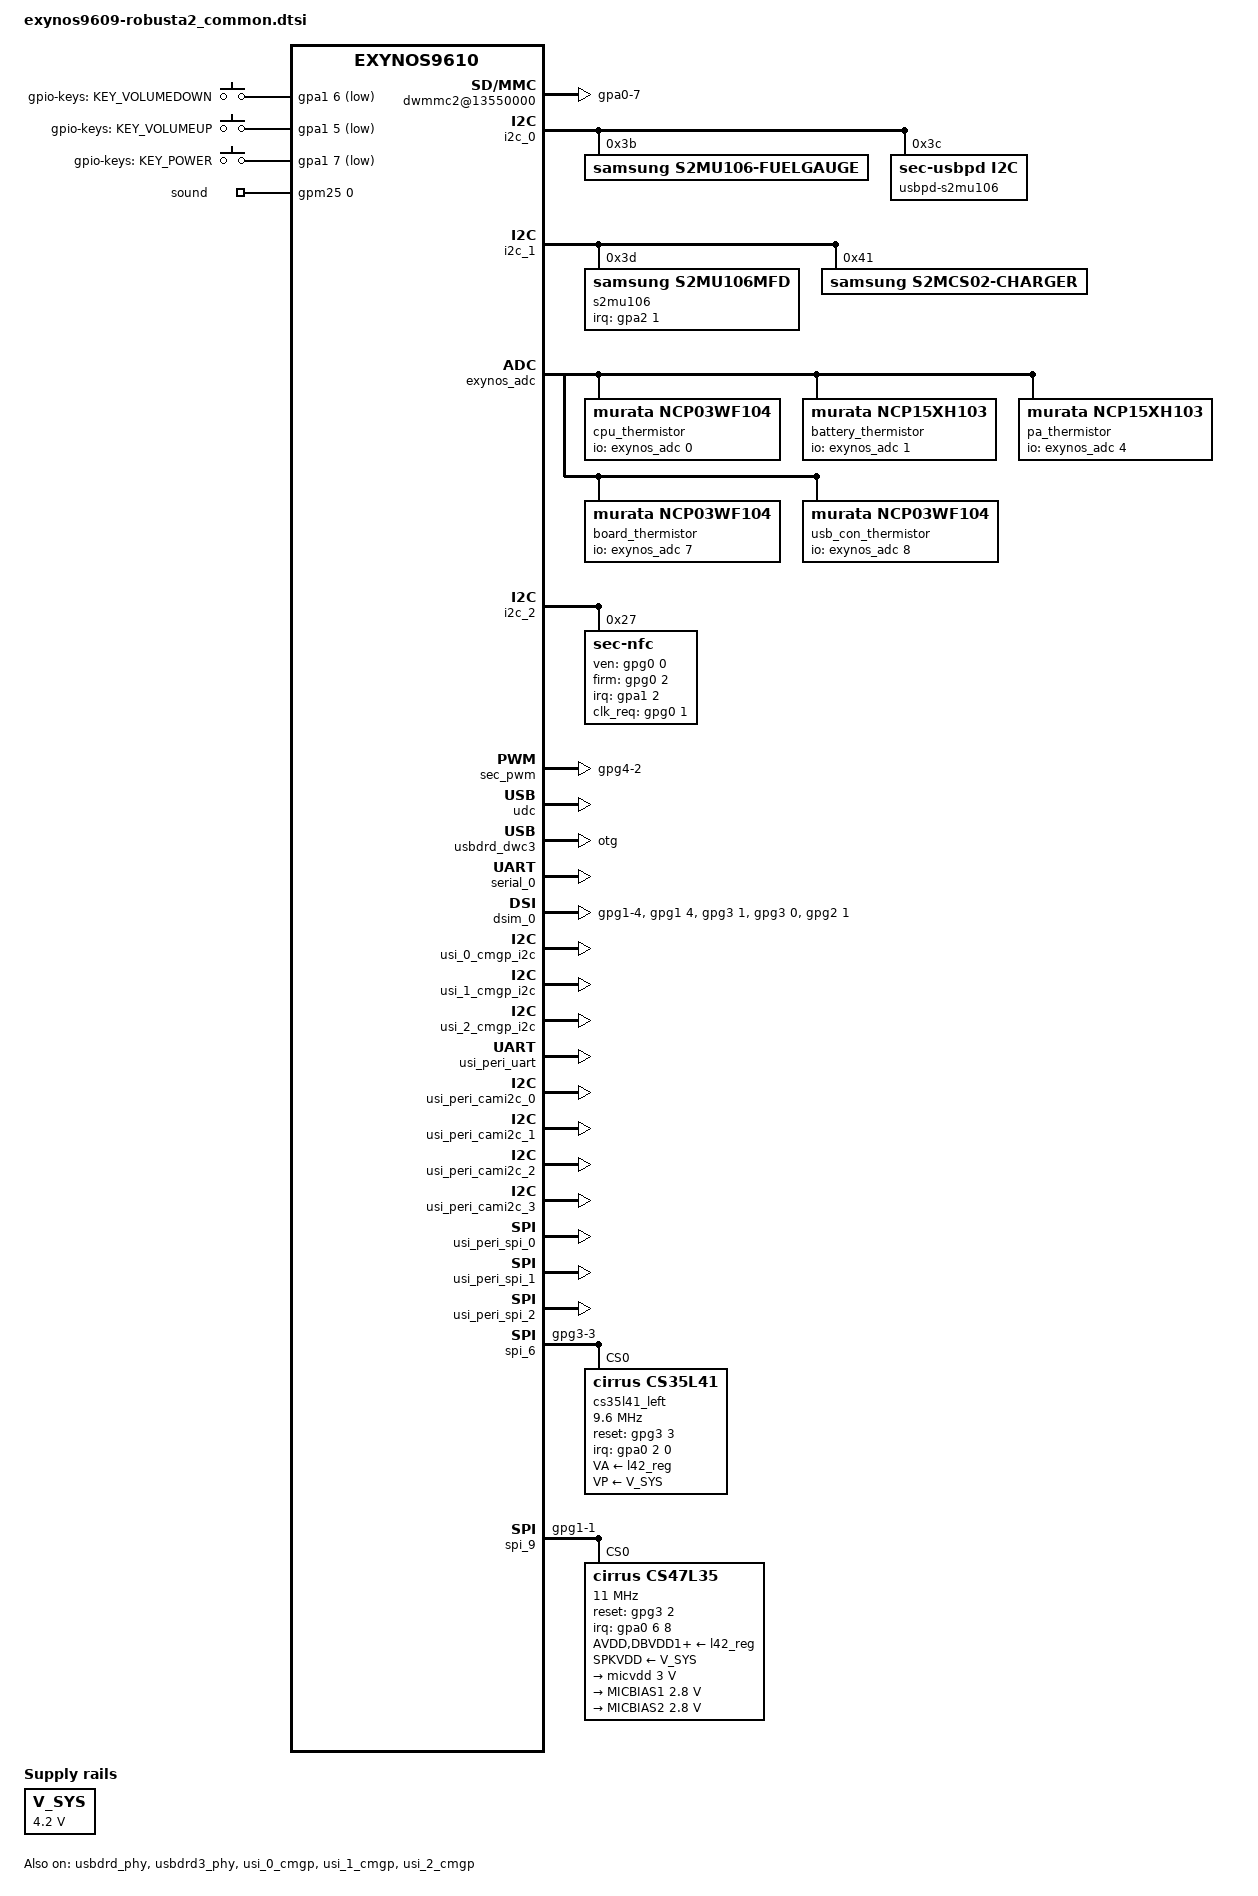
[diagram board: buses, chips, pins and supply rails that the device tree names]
/*
 * SAMSUNG EXYNOS9610 board device tree source
 *
 * Copyright (c) 2017 Samsung Electronics Co., Ltd.
 *		http://www.samsung.com
 *
 * This program is free software; you can redistribute it and/or modify
 * it under the terms of the GNU General Public License version 2 as
 * published by the Free Software Foundation.
 */

#include "exynos9610_battery_data.dtsi"
#include <dt-bindings/clock/exynos9610.h>
#include "modem-ss360ap-sit-pdata.dtsi"
#include "exynos9610-display-lcd.dtsi"
#include "novatek-nt36xxx-i2c.dtsi"
#include "himax-hx83112a-i2c.dtsi"
#include "wing-sensor.dtsi"
#include "exynos9610-robusta2-motor.dtsi"
#include "exynos9610_gpio_config_macros.dtsi"
#include "carrier-channel-ids.dtsi"

/ {
	fragment@common {
		target-path = "/";
		__overlay__ {
			#address-cells = <2>;
			#size-cells = <1>;

			fixed-rate-clocks {
				oscclk {
					compatible = "samsung,exynos9610-oscclk";
					clock-frequency = <26000000>;
				};
			};

			firmware {
				android {
					compatible = "android,firmware";
					vbmeta {
						compatible = "android,vbmeta";
						parts = "vbmeta,boot,system,vendor,dtbo,oem";
					};
					fstab {
						compatible = "android,fstab";
						vendor {
							compatible = "android,vendor";
							dev = "/dev/block/platform/13520000.ufs/by-name/vendor";
							type = "ext4";
							mnt_flags = "ro";
							fsmgr_flags = "wait,avb,slotselect";
						};
						oem {
							compatible = "android,oem";
							dev = "/dev/block/platform/13520000.ufs/by-name/oem";
							type = "ext4";
							mnt_flags = "ro,barrier=1,discard";
							fsmgr_flags = "wait,avb,slotselect";
						};
					};
				};
			};

			ifconn {
				status = "okay";
				compatible = "samsung,ifconn";
				ifconn,usbpd = "s2mm005";
				ifconn,muic = "s2mu106-muic";
			};

			/*Fingerprint start*/
			et320: et320{
				compatible = "egistec,et320";
				status = "ok";
				reg = <0>;
				clocks = <&clock GATE_SPI_1_QCH>, <&clock SPI1>;
				clock-names = "spi", "spi_busclk0";
				pinctrl-names = "default";
				pinctrl-0 = <&spi7_bus &spi7_cs_func>;
				egistec,gpio_irq    = <&gpa0 5 0>;
				egistec,gpio_rst    = <&gpa1 1 0>;
				egistec,gpio_ldo3p3_en    = <&gpg2 0 0>;
				egistec,gpio_ldo1p8_en    = <&gpg2 2 0>;
			};
			/*Fingerprint end*/

			speedy@11a10000 {
				status = "okay";
				#address-cells = <1>;
				#size-cells = <0>;
				s2mpu09mfd@00 {
					compatible = "samsung,s2mpu09mfd";
					acpm-ipc-channel = <2>;
					i2c-speedy-address;
					s2mpu09,wakeup = "enabled";
					s2mpu09,irq-gpio = <&gpa2 0 0>;
					reg = <0x00>;
					interrupts = <2 0 0>;
					interrupt-parent = <&gpa2>;
					pinctrl-names = "default";
					pinctrl-0 = <&pmic_irq &pm_wrsti>;
					/* RTC: wtsr/smpl */
					wtsr_en = "enabled"; /* enable */
					smpl_en = "enabled"; /* enable */
					wtsr_timer_val = <3>;	/* 1000ms */
					smpl_timer_val = <4>;	/* 500ms */
					check_jigon = <0>; /* do not check jigon */
					/* RTC: If it's first boot, reset rtc to 1/1/2017 12:00:00(Sun) */
					init_time,sec = <0>;
					init_time,min = <0>;
					init_time,hour = <12>;
					init_time,mday = <1>;
					init_time,mon = <0>;
					init_time,year = <117>;
					init_time,wday = <0>;

					regulators {
						b1_reg: BUCK1 {
							regulator-name = "vdd_mif";
							regulator-min-microvolt = <500000>;
							regulator-max-microvolt = <1100000>;
							regulator-always-on;
							regulator-ramp-delay = <12000>;
							regulator-initial-mode = <2>;
						};

						b2_reg: BUCK2 {
							regulator-name = "vdd_cpucl1";
							regulator-min-microvolt = <500000>;
							regulator-max-microvolt = <1300000>;
							regulator-always-on;
							regulator-ramp-delay = <12000>;
							regulator-initial-mode = <1>;
						};

						b3_reg: BUCK3 {
							regulator-name = "vdd_cpucl0";
							regulator-min-microvolt = <500000>;
							regulator-max-microvolt = <1300000>;
							regulator-always-on;
							regulator-ramp-delay = <12000>;
							regulator-initial-mode = <1>;
						};

						b4_reg: BUCK4{
							regulator-name = "vdd_int";
							regulator-min-microvolt = <500000>;
							regulator-max-microvolt = <1100000>;
							regulator-always-on;
							regulator-ramp-delay = <12000>;
							regulator-initial-mode = <2>;
						};

						b5_reg: BUCK5 {
							regulator-name = "vdd_g3d";
							regulator-min-microvolt = <500000>;
							regulator-max-microvolt = <1200000>;
							regulator-always-on;
							regulator-ramp-delay = <12000>;
							regulator-initial-mode = <2>;
						};

						b6_reg: BUCK6 {
							regulator-name = "vdd_cam_vipx";
							regulator-min-microvolt = <500000>;
							regulator-max-microvolt = <1300000>;
							regulator-always-on;
							regulator-ramp-delay = <12000>;
							regulator-initial-mode = <2>;
						};

						b7_reg: BUCK7 {
							regulator-name = "vdd2_mem";
							regulator-min-microvolt = <500000>;
							regulator-max-microvolt = <1300000>;
							regulator-always-on;
							regulator-ramp-delay = <12000>;
							regulator-initial-mode = <3>;
						};

						b8_reg: BUCK8 {
							regulator-name = "vdd_lldo";
							regulator-min-microvolt = <1200000>;
							regulator-max-microvolt = <1500000>;
							regulator-always-on;
							regulator-ramp-delay = <12000>;
							regulator-initial-mode = <3>;
						};

						b9_reg: BUCK9 {
							regulator-name = "vdd_mldo";
							regulator-min-microvolt = <1800000>;
							regulator-max-microvolt = <2100000>;
							regulator-always-on;
							regulator-ramp-delay = <12000>;
							regulator-initial-mode = <3>;
						};

						l1_reg: LDO1 {
							regulator-name = "vdd_ldo1";
							regulator-min-microvolt = <700000>;
							regulator-max-microvolt = <1300000>;
							regulator-always-on;
							regulator-ramp-delay = <12000>;
							regulator-initial-mode = <3>;
						};

						l2_reg: LDO2 {
							regulator-name = "vqmmc";
							regulator-min-microvolt = <1800000>;
							regulator-max-microvolt = <3375000>;
							regulator-ramp-delay = <12000>;
						};

						l3_reg: LDO3 {
							regulator-name = "vdd_ldo3";
							regulator-min-microvolt = <800000>;
							regulator-max-microvolt = <1950000>;
							regulator-always-on;
							regulator-ramp-delay = <12000>;
							regulator-initial-mode = <3>;
						};

						l4_reg: LDO4 {
							regulator-name = "vdd_ldo4";
							regulator-min-microvolt = <500000>;
							regulator-max-microvolt = <1100000>;
							regulator-always-on;
							regulator-ramp-delay = <12000>;
							regulator-initial-mode = <1>;
						};

						l5_reg: LDO5 {
							regulator-name = "vdd_ldo5";
							regulator-min-microvolt = <800000>;
							regulator-max-microvolt = <1300000>;
							regulator-always-on;
							regulator-ramp-delay = <12000>;
							regulator-initial-mode = <1>;
						};

						l6_reg: LDO6 {
							regulator-name = "vdd_ldo6";
							regulator-min-microvolt = <800000>;
							regulator-max-microvolt = <1300000>;
							regulator-always-on;
							regulator-ramp-delay = <12000>;
							regulator-initial-mode = <1>;
						};

						l7_reg: LDO7 {
							regulator-name = "vdd_ldo7";
							regulator-min-microvolt = <800000>;
							regulator-max-microvolt = <1950000>;
							regulator-always-on;
							regulator-ramp-delay = <12000>;
							regulator-initial-mode = <1>;
						};

						l8_reg: LDO8 {
							regulator-name = "vdd_ldo8";
							regulator-min-microvolt = <500000>;
							regulator-max-microvolt = <1300000>;
							regulator-always-on;
							regulator-ramp-delay = <12000>;
							regulator-initial-mode = <1>;
						};

						l9_reg: LDO9 {
							regulator-name = "vdd_ldo9";
							regulator-min-microvolt = <500000>;
							regulator-max-microvolt = <1300000>;
							regulator-always-on;
							regulator-ramp-delay = <12000>;
							regulator-initial-mode = <1>;
						};

						l10_reg: LDO10 {
							regulator-name = "vdd_ldo10";
							regulator-min-microvolt = <500000>;
							regulator-max-microvolt = <1300000>;
							regulator-always-on;
							regulator-ramp-delay = <12000>;
							regulator-initial-mode = <1>;
						};

						l11_reg: LDO11 {
							regulator-name = "vdd_ldo11";
							regulator-min-microvolt = <500000>;
							regulator-max-microvolt = <1300000>;
							regulator-always-on;
							regulator-ramp-delay = <12000>;
							regulator-initial-mode = <1>;
						};

						l12_reg: LDO12 {
							regulator-name = "vdd_ldo12";
							regulator-min-microvolt = <800000>;
							regulator-max-microvolt = <1300000>;
							regulator-always-on;
							regulator-ramp-delay = <12000>;
							regulator-initial-mode = <1>;
						};

						l13_reg: LDO13 {
							regulator-name = "vdd_ldo13";
							regulator-min-microvolt = <800000>;
							regulator-max-microvolt = <1950000>;
							regulator-always-on;
							regulator-ramp-delay = <12000>;
							regulator-initial-mode = <1>;
						};

						l14_reg: LDO14 {
							regulator-name = "vdd_ldo14";
							regulator-min-microvolt = <1800000>;
							regulator-max-microvolt = <3375000>;
							regulator-always-on;
							regulator-ramp-delay = <12000>;
							regulator-initial-mode = <1>;
						};

						l33_reg: LDO33 {
							regulator-name = "vdd_ldo33";
							regulator-min-microvolt = <800000>;
							regulator-max-microvolt = <1950000>;
							regulator-ramp-delay = <12000>;
						};

						l34_reg: LDO34 {
							regulator-name = "vdd_ldo34";
							regulator-min-microvolt = <1800000>;
							regulator-max-microvolt = <3375000>;
							regulator-ramp-delay = <12000>;
						};

						l35_reg: LDO35 {
							regulator-name = "vmmc";
							regulator-min-microvolt = <1800000>;
							regulator-max-microvolt = <3375000>;
							regulator-ramp-delay = <12000>;
						};

						l36_reg: LDO36 {
							regulator-name = "vdd_ldo36";
							regulator-min-microvolt = <500000>;
							regulator-max-microvolt = <1300000>;
							regulator-always-on;
							regulator-ramp-delay = <12000>;
							regulator-initial-mode = <1>;
						};

						l37_reg: LDO37 {
						        regulator-name = "vdd_ldo37";
					                regulator-min-microvolt = <3300000>;
					                regulator-max-microvolt = <3300000>;
					                regulator-ramp-delay = <12000>;
					                regulator-always-on;
						};

						l38_reg: LDO38 {
							regulator-name = "VLDO38_PMIC_RCAM_AFVCC_2P8";
							regulator-min-microvolt = <2800000>;
							regulator-max-microvolt = <2800000>;
							regulator-ramp-delay = <12000>;
						};

						l39_reg: LDO39 {
							regulator-name = "vdd_ldo39";
							regulator-min-microvolt = <800000>;
							regulator-max-microvolt = <1950000>;
							regulator-ramp-delay = <12000>;
							regulator-always-on;
						};

						l40_reg: LDO40 {
							regulator-name = "vdd_ldo40";
							regulator-min-microvolt = <3000000>;
							regulator-max-microvolt = <3000000>;
							regulator-ramp-delay = <12000>;
							regulator-initial-mode = <3>;
							regulator-always-on;
						};

						l41_reg: LDO41 {
							regulator-name = "VLDO41_PMIC_FCAM_AVDD_2P8";
							regulator-min-microvolt = <2800000>;
							regulator-max-microvolt = <2800000>;
							regulator-ramp-delay = <12000>;
						};

						l42_reg: LDO42 {
							regulator-name = "vdd_ldo42";
							regulator-min-microvolt = <800000>;
							regulator-max-microvolt = <1950000>;
							regulator-ramp-delay = <12000>;
							regulator-always-on;
						};

						l43_reg: LDO43 {
							regulator-name = "vdd_ldo43";
							regulator-min-microvolt = <500000>;
							regulator-max-microvolt = <1300000>;
							regulator-always-on;
							regulator-ramp-delay = <12000>;
							regulator-initial-mode = <1>;
						};

						l44_reg: LDO44 {
							regulator-name = "VLDO44_PMIC_DCAM_DVDD_1P2";
							regulator-min-microvolt = <1200000>;
							regulator-max-microvolt = <1200000>;
							regulator-ramp-delay = <12000>;
						};
					};
				};
			};


			exynos_rgt {
				compatible = "samsung,exynos-rgt";
			};

			mailbox_cp: mcu_ipc@11920000 {
				compatible = "samsung,exynos-shd-ipc-mailbox";
				reg = <0x0 0x11920000 0x180>;
				mcu,name = "mcu_ipc_cp";
				mcu,id = <0>;
				interrupts = <0 40 0 >;
			};

			mailbox_gnss: mcu_ipc@11A00000 {
				compatible = "samsung,exynos-shd-ipc-mailbox";
				reg = <0x0 0x11A00000 0x180>;
				mcu,name = "mcu_ipc_gnss";
				mcu,id = <1>;
				interrupts = <0 43 0>; /* INTREQ__MAILBOX_GNSS2AP */
			};

			gnss_pdata {
				status = "okay";

				compatible = "samsung,gnss_shdmem_if";
				shmem,name = "KEPLER";
				shmem,device_node_name = "gnss_ipc";

				/* INTREQ__ALIVE_GNSS_ACTIVE, INTREQ__GNSS2AP_WDOG_RESET, INTREQ__GNSS2AP_WAKEUP, INTREQ__GNSS2AP */
				interrupts = <0 27 0>, <0 81 0>, <0 80 0>, <0 79 0>;
				interrupt-names = "ACTIVE", "WATCHDOG", "WAKEUP", "REQ_INIT";

				memory-region = <&gnss_reserved>;
				mbox_info = <&mailbox_gnss>;

				mbx,int_ap2gnss_bcmd = <0>;
				mbx,int_ap2gnss_req_fault_info = <1>;
				mbx,int_ap2gnss_ipc_msg = <2>;
				mbx,int_ap2gnss_ack_wake_set = <3>;
				mbx,int_ap2gnss_ack_wake_clr = <4>;

				mbx,irq_gnss2ap_bcmd = <0>;
				mbx,irq_gnss2ap_rsp_fault_info = <1>;
				mbx,irq_gnss2ap_ipc_msg = <2>;
				mbx,irq_gnss2ap_req_wake_clr = <4>;

				mbx,reg_bcmd_ctrl = <0>, <1>, <2>, <3>;

				reg_rx_ipc_msg = <1 5>;
				reg_tx_ipc_msg = <1 4>;
				reg_rx_head = <1 3>;
				reg_rx_tail = <1 2>;
				reg_tx_head = <1 1>;
				reg_tx_tail = <1 0>;
				fault_info = <1 0x200000 0x180000>;

				shmem,ipc_offset = <0x380000>;
				shmem,ipc_size = <0x80000>;
				shmem,ipc_reg_cnt = <32>;
			};

			gpio_keys {
				status = "okay";
				compatible = "gpio-keys";
				#address-cells = <1>;
				#size-cells = <0>;
				pinctrl-names = "default";
				pinctrl-0 = <&key_voldown &key_volup &key_power>;
				button@1 {
					label = "gpio-keys: KEY_VOLUMEDOWN";
					linux,code = <114>;
					gpios = <&gpa1 6 0xf>;
				};
				button@2 {
					label = "gpio-keys: KEY_VOLUMEUP";
					linux,code = <115>;
					gpios = <&gpa1 5 0xf>;
				};
				button@3 {
					label = "gpio-keys: KEY_POWER";
					linux,code = <116>;
					gpios = <&gpa1 7 0xf>;
					gpio-key,wakeup = <1>;
				};
			};

			dwmmc2@13550000 {
				status = "okay";
				num-slots = <1>;
				supports-4bit;
				supports-cmd23;
				supports-highspeed;
				sd-uhs-sdr50;
				sd-uhs-sdr104;
				card-detect-invert;
				card-detect-gpio;
				bypass-for-allpass;
				card-init-hwacg-ctrl;
				skip-init-mmc-scan;
				skip-init-no-tray;
				qos-dvfs-level = <100000>;
				fifo-depth = <0x40>;
				desc-size = <4>;
				card-detect-delay = <200>;
				data-timeout = <200>;
				hto-timeout = <80>;
				samsung,dw-mshc-ciu-div = <3>;
				clock-frequency = <800000000>;
				samsung,dw-mshc-sdr-timing = <3 0 2 0>;
				samsung,dw-mshc-ddr-timing = <3 0 2 1>;
				samsung,dw-mshc-sdr50-timing = <3 0 4 2>;
				samsung,dw-mshc-sdr104-timing = <3 0 3 0>;

				num-ref-clks = <9>;
				ciu_clkin = <25 50 50 25 50 100 200 50 50>;

				/* Swapping clock drive strength */
				clk-drive-number = <4>;
				pinctrl-names = "default",
					"fast-slew-rate-1x",
					"fast-slew-rate-2x",
					"fast-slew-rate-3x",
					"fast-slew-rate-4x";
				pinctrl-0 = <&sd2_clk &sd2_cmd &sd2_bus1 &sd2_bus4 &dwmmc2_cd_ext_irq>;
				pinctrl-1 = <&sd2_clk_fast_slew_rate_1x>;
				pinctrl-2 = <&sd2_clk_fast_slew_rate_2x>;
				pinctrl-3 = <&sd2_clk_fast_slew_rate_3x>;
				pinctrl-4 = <&sd2_clk_fast_slew_rate_4x>;

				card-detect = <&gpa0 7 0xf>;
				#address-cells = <1>;
				#size-cells = <0>;
				slot@0 {
					reg = <0>;
					bus-width = <4>;
					disable-wp;
				};
			};

			usb_notifier {
				compatible = "samsung,usb-notifier";
				udc = <&udc>;
			};

			usb_hs_tune:usb_hs_tune {
				hs_tune_cnt = <12>;

				/* value = <device host> */
				hs_tune1 {
					tune_name = "tx_vref";
					tune_value = <0xf 0xf>;
				};

				hs_tune2 {
					tune_name = "tx_pre_emp";
					tune_value = <0x3 0x3>;
				};

				hs_tune3 {
					tune_name = "tx_pre_emp_plus";
					tune_value = <0x0 0x0>;
				};

				hs_tune4 {
					tune_name = "tx_res";
					tune_value = <0x3 0x3>;
				};

				hs_tune5 {
					tune_name = "tx_rise";
					tune_value = <0x3 0x3>;
				};

				hs_tune6 {
					tune_name = "tx_hsxv";
					tune_value = <0x3 0x3>;
				};

				hs_tune7 {
					tune_name = "tx_fsls";
					tune_value = <0x3 0x3>;
				};

				hs_tune8 {
					tune_name = "rx_sqrx";
					tune_value = <0x7 0x7>;
				};

				hs_tune9 {
					tune_name = "compdis";
					tune_value = <0x7 0x7>;
				};

				hs_tune10 {
					tune_name = "otg";
					tune_value = <0x2 0x2>;
				};

				hs_tune11 {
				/* true : 1, false: 0 */
				/* <enable_user_imp user_imp_value> */
					tune_name = "enable_user_imp";
					tune_value = <0x0 0x0>;
				};

				hs_tune12 {
				/* PHY clk : 1 , FREE clk : 0 */
					tune_name = "is_phyclock";
					tune_value = <0x1 0x1>;
				};
			};

			usb3_ss_tune:ss_tune {
				ss_tune_cnt = <15>;

				/* value = <device host> */
				ss_tune1 {
					tune_name = "tx0_term_offset";
					tune_value = <0x0 0x0>;
				};

				ss_tune2 {
					tune_name = "pcs_tx_swing_full";
					tune_value = <0x7f 0x7f>;
				};

				ss_tune3 {
					tune_name = "pcs_tx_deemph_6db";
					tune_value = <0x1c 0x1c>;
				};

				ss_tune4 {
					tune_name = "pcs_tx_deemph_3p5db";
					tune_value = <0x1c 0x1c>;
				};

				ss_tune5 {
					tune_name = "tx_vboost_lvl_sstx";
					tune_value = <0x7 0x7>;
				};

				ss_tune6 {
					tune_name = "tx_vboost_lvl";
					tune_value = <0x4 0x4>;
				};

				ss_tune7 {
					tune_name = "los_level";
					tune_value = <0x9 0x9>;
				};

				ss_tune8 {
					tune_name = "los_bias";
					tune_value = <0x5 0x5>;
				};

				ss_tune9 {
					tune_name = "pcs_rx_los_mask_val";
					tune_value = <0x104 0x104>;
				};

				ss_tune10 {
					tune_name = "tx_eye_height_cntl_en";
					tune_value = <0x1 0x1>;
				};

				ss_tune11 {
					tune_name = "pipe_tx_deemph_update_delay";
					tune_value = <0x2 0x2>;
				};

				ss_tune12 {
					tune_name = "pcs_tx_swing_full_sstx";
					tune_value = <0x7f 0x7f>;
				};
				ss_tune13 {
					tune_name = "rx_eq_fix_val";
					tune_value = <0x2 0x2>;
				};

				ss_tune14 {
					tune_name = "rx_decode_mode";
					tune_value = <0x1 0x1>;
				};

				ss_tune15 {
					tune_name = "decrese_ss_tx_imp";
					tune_value = <0x1 0x1>;
				};
			};

			usb3_hs_tune:usb3_hs_tune {
				hs_tune_cnt = <10>;

				/* value = <device host> */
				hs_tune1 {
					tune_name = "tx_pre_emp";
					tune_value = <0x3 0x3>;
				};

				hs_tune2 {
					tune_name = "tx_pre_emp_plus";
					tune_value = <0x0 0x0>;
				};

				hs_tune3 {
					tune_name = "tx_vref";
					tune_value = <0x7 0x7>;
				};

				hs_tune4 {
					tune_name = "rx_sqrx";
					tune_value = <0x7 0x7>;
				};

				hs_tune5 {
					tune_name = "tx_rise";
					tune_value = <0x3 0x3>;
				};

				hs_tune6 {
					tune_name = "compdis";
					tune_value = <0x7 0x7>;
				};

				hs_tune7 {
					tune_name = "tx_hsxv";
					tune_value = <0x3 0x3>;
				};

				hs_tune8 {
					tune_name = "tx_fsls";
					tune_value = <0x3 0x3>;
				};

				hs_tune9 {
					tune_name = "tx_res";
					tune_value = <0x3 0x3>;
				};

				hs_tune10 {
					tune_name = "utim_clk";
					tune_value = <0x1 0x1>;
				};
			};

			/* Secure RPMB */
			ufs-srpmb {
				compatible = "samsung,ufs-srpmb";
				interrupts = <0 460 0>;
			};

			V_SYS: fixedregulator@0 {
				compatible = "regulator-fixed";
				regulator-name = "V_SYS";
				regulator-min-microvolt = <4200000>;
				regulator-max-microvolt = <4200000>;
				regulator-boot-on;
				regulator-always-on;
			};


			dummy_audio_codec: audio_codec_dummy {
				status = "okay";
				compatible = "snd-soc-dummy";
			};

			dummy_audio_cpu: audio_cpu_dummy {
				compatible = "samsung,dummy-cpu";
				status = "okay";
			};

			sound {
				status = "okay";
				compatible = "samsung,exynos9610-madera";

				clock-names = "xclkout";
				clocks = <&clock OSC_AUD>;
				pinctrl-names = "default";
				pinctrl-0 = <&xclkout0 &spk_id>;

				cirrus,sysclk = <1 4 98304000>;
				cirrus,dspclk = <8 4 147456000>;
				cirrus,fll1-refclk = <1 0 26000000 98304000>;

				cirrus,opclk = <3 0 12288000>;

				gpios = <&gpm25 0 0>;

				samsung,routing =
					"HEADSETMIC", "MICBIAS1B",
					"IN1BR", "HEADSETMIC",
					"DMIC1", "MICBIAS2A",
					"IN1AL", "DMIC1",
					"DMIC2", "MICBIAS2A",
					"IN2L", "DMIC2",
					"DMIC3", "MICBIAS2B",
					"IN2R", "DMIC3",
					"RECEIVER", "EPOUTN",
					"RECEIVER", "EPOUTP",
					"HEADPHONE", "HPOUTL",
					"HEADPHONE", "HPOUTR",
					"AIF2 Playback", "OPCLK",
					"AIF2 Capture", "OPCLK",
					"VOUTPUT", "ABOX UAIF0 Playback",
					"SPEAKER", "Left SPK",
					"VOUTPUTCALL", "ABOX SIFS0 Playback",
					"ABOX SIFS0 Capture", "VINPUTCALL";

				samsung,codec = <&abox &abox_uaif_0 &abox_uaif_1 &abox_uaif_2
					&abox_uaif_4 &abox_dsif &abox_spdy &cs35l41_left>;
				samsung,prefix = "ABOX", "ABOX", "ABOX", "ABOX",
					"ABOX", "ABOX", "ABOX", "SPK";
				samsung,aux = <&abox_effect &abox_bt>;

				rdma@0 {
					cpu {
						sound-dai = <&abox 0>;
					};
					platform {
						sound-dai = <&abox_rdma_0>;
					};
					codec {
						sound-dai = <&dummy_audio_codec>;
					};
				};
				rdma@1 {
					cpu {
						sound-dai = <&abox 1>;
					};
					platform {
						sound-dai = <&abox_rdma_1>;
					};
					codec {
						sound-dai = <&dummy_audio_codec>;
					};
				};
				rdma@2 {
					cpu {
						sound-dai = <&abox 2>;
					};
					platform {
						sound-dai = <&abox_rdma_2>;
					};
					codec {
						sound-dai = <&dummy_audio_codec>;
					};
				};
				rdma@3 {
					cpu {
						sound-dai = <&abox 3>;
					};
					platform {
						sound-dai = <&abox_rdma_3>;
					};
					codec {
						sound-dai = <&dummy_audio_codec>;
					};
				};
				rdma@4 {
					cpu {
						sound-dai = <&abox 4>;
					};
					platform {
						sound-dai = <&abox_rdma_4>;
					};
					codec {
						sound-dai = <&dummy_audio_codec>;
					};
				};
				rdma@5 {
					cpu {
						sound-dai = <&abox 5>;
					};
					platform {
						sound-dai = <&abox_rdma_5>;
					};
					codec {
						sound-dai = <&dummy_audio_codec>;
					};
				};
				rdma@6 {
					cpu {
						sound-dai = <&abox 6>;
					};
					platform {
						sound-dai = <&abox_rdma_6>;
					};
					codec {
						sound-dai = <&dummy_audio_codec>;
					};
				};
				rdma@7 {
					cpu {
						sound-dai = <&abox 7>;
					};
					platform {
						sound-dai = <&abox_rdma_7>;
					};
					codec {
						sound-dai = <&dummy_audio_codec>;
					};
				};
				wdma@0 {
					cpu {
						sound-dai = <&abox 8>;
					};
					platform {
						sound-dai = <&abox_wdma_0>;
					};
					codec {
						sound-dai = <&dummy_audio_codec>;
					};
				};
				wdma@1 {
					cpu {
						sound-dai = <&abox 9>;
					};
					platform {
						sound-dai = <&abox_wdma_1>;
					};
					codec {
						sound-dai = <&dummy_audio_codec>;
					};
				};
				wdma@2 {
					cpu {
						sound-dai = <&abox 10>;
					};
					platform {
						sound-dai = <&abox_wdma_2>;
					};
					codec {
						sound-dai = <&dummy_audio_codec>;
					};
				};
				wdma@3 {
					cpu {
						sound-dai = <&abox 11>;
					};
					platform {
						sound-dai = <&abox_wdma_3>;
					};
					codec {
						sound-dai = <&dummy_audio_codec>;
					};
				};
				wdma@4 {
					cpu {
						sound-dai = <&abox 12>;
					};
					platform {
						sound-dai = <&abox_wdma_4>;
					};
					codec {
						sound-dai = <&dummy_audio_codec>;
					};
				};
		/** ToDo: enable dp_audio link after enabling DP Audio
		 *		dp_audio@0 {
		 *			cpu {
		 *				sound-dai = <&dummy_audio_cpu>;
		 *			};
		 *			codec {
		 *				sound-dai = <&dummy_audio_codec>;
		 *			};
		 *		};
		 */
				uaif@0 {
					format = "i2s";
					cpu {
						sound-dai = <&abox_uaif_0>;
					};
					codec {
						sound-dai = <&cs47l35 0>;
					};
				};
				uaif@1 {
					format = "i2s";
					cpu {
						sound-dai = <&abox_uaif_1>;
					};
					codec {
						sound-dai = <&dummy_audio_codec>;
					};
				};
				uaif@2 {
					format = "i2s";
					cpu {
						sound-dai = <&abox_uaif_2>;
					};
					codec {
						sound-dai = <&cs47l35 2>;
					};
				};
				uaif@4 {
					format = "i2s";
					bitclock-master;
					frame-master;
					cpu {
						sound-dai = <&abox_uaif_4>;
					};
					codec {
						sound-dai = <&dummy_audio_codec>;
					};
				};
				dsif@0 {
					format = "pdm";
					cpu {
						sound-dai = <&abox_dsif>;
					};
					codec {
						sound-dai = <&dummy_audio_codec>;
					};
				};
				spdy@0 {
					cpu {
						sound-dai = <&abox_spdy>;
					};
					codec {
						sound-dai = <&dummy_audio_codec>;
					};
				};
				sifs0@0 {
					cpu {
						sound-dai = <&abox 13>;
					};
					codec {
						sound-dai = <&dummy_audio_codec>;
					};
				};
				sifs1@0 {
					cpu {
						sound-dai = <&abox 14>;
					};
					codec {
						sound-dai = <&dummy_audio_codec>;
					};
				};
				sifs2@0 {
					cpu {
						sound-dai = <&abox 15>;
					};
					codec {
						sound-dai = <&dummy_audio_codec>;
					};
				};

				codec-left-amp@0 {
					format = "i2s";

					cpu {
						sound-dai = <&cs47l35 1>;
					};
					codec {
						sound-dai = <&cs35l41_left 0>;
					};
				};

				cpu-dsp-voice-control@0 {
					cpu {
						sound-dai = <&cs47l35 3>;
					};
					codec {
						sound-dai = <&dummy_audio_codec>;
					};
				};

				cpu-dsp-trace@0 {
					cpu {
						sound-dai = <&cs47l35 4>;
					};
					codec {
						sound-dai = <&dummy_audio_codec>;
					};
				};

				cpu-dsp2-text@0 {
					cpu {
						sound-dai = <&cs47l35 5>;
					};
					codec {
						sound-dai = <&dummy_audio_codec>;
					};
				};

				cpu-dsp3-text@0 {
					cpu {
						sound-dai = <&cs47l35 6>;
					};
					codec {
						sound-dai = <&dummy_audio_codec>;
					};
				};

				cpu-dsp1-text@0 {
					cpu {
						sound-dai = <&cs47l35 7>;
					};
					codec {
						sound-dai = <&dummy_audio_codec>;
					};
				};
			};

			sleep_gpio {
				compatible = "samsung,exynos-sleepgpio";
				pinctrl-names = "default", "sleep";
				pinctrl-0 = <&sleep_top &sleep_fsys &sleep_shub &normal_alive &normal_cmgp>;
				pinctrl-1 = <&sleep_top &sleep_fsys &sleep_shub &sleep_alive>;
			};

			exynos-bcmdbg {
				initial_run_bcm_ip = <0>, <1>, <2>, <3>, <4>, <6>, <7>, <8>, <9>, <10>,
						 <11>, <12>, <13>, <14>, <15>, <16>, <17>, <18>, <19>, <20>,
						 <21>, <22>, <23>, <24>, <25>, <26>, <27>, <28>, <29>, <30>;
			};
		}; /* end of __overlay__ */
	}; /* end of fragment */
}; /* end of root */

&i2c_0 {
	#address-cells = <1>;
	#size-cells = <0>;
	status = "okay";
	s2mu106-fuelgauge@3B {
		compatible = "samsung,s2mu106-fuelgauge";
		reg = <0x3B>;
		pinctrl-names = "default";
		pinctrl-0 = <&fuel_irq>;
		fuelgauge,fuel_int = <&gpa2 3 0>;
		fuelgauge,fuel_alert_vol = <3400>;
		fuelgauge,fuel_alert_soc = <1>;
		fuelgauge,type_str = "SDI";
		fuelgauge,model_type = <1>;
	};

	usbpd-s2mu106@3C {
		compatible = "sec-usbpd,i2c";
		reg = <0x3C>;
		pinctrl-names = "default";
		pinctrl-0 = <&usbpd_irq>;
		usbpd,usbpd_int = <&gpa2 2 0>;

		pdic-manager {
			/* sink */
			pdic,max_power = <5000>;
			pdic,op_power = <2500>;
			pdic,max_voltage = <6000>;
			pdic,max_current = <2000>;
			pdic,min_current = <500>;

			pdic,giveback = <0>;
			pdic,usb_com_capable = <1>;
			pdic,no_usb_suspend = <1>;

			/* source */
			source,max_voltage = <5000>;
			source,min_voltage = <4000>;
			source,max_power = <2500>;

			/* sink cap */
			sink,capable_max_voltage = <5000>;
		};
	};
};

&i2c_1 {
	#address-cells = <1>;
	#size-cells = <0>;
	status = "okay";
	s2mu106@3d {
		compatible = "samsung,s2mu106mfd";
		reg = <0x3d>;
		pinctrl-names = "default";
		pinctrl-0 = <&if_pmic_irq>;
		s2mu106,irq-gpio = <&gpa2 1 0>;
		s2mu106,wakeup;

		muic {
			status = "okay";
			muic,uart_addr = "11850000.pinctrl";
			muic,uart_rxd = "gpq0-3";
			muic,uart_txd = "gpq0-4";
		};
	};

	s2mu106-haptic {
		status = "okay";
		haptic,pwm_id = <1>;
		haptic,operation_mode = <2>; /* 0 : ERM_I2C, 1 : ERM_GPIO, 2 : LRA */
		haptic,hbst_en;
		haptic,hbst_automode;
		haptic,boost_level = <5000>;
	};

	s2mcs02-charger@41 {
		compatible = "samsung,s2mcs02-charger";
		reg = <0x41>;
		default-clk = <100000000>;
	};

	flash_led {
		/* Change here if you want to use FLED_EN pin
		   fled-en1-gpio = <&gpg1 2 0>;
		   fled-en2-gpio = <&gpg1 2 0>;
		   fled-en3-gpio = <&gpg1 2 0>;
		   fled-en4-gpio = <&gpg1 2 0>;
		 */
		status = "okay";
		default_current = <50>;
		max_current = <200>;
		default_timer = <0>;

		s2mu106-channel1 {
			id = <0>;
			/*
			   current = <100>;
			   timer = <200>;
			*/
		};

		s2mu106-channel2 {
			id = <1>;
			/*
			   current = <100>;
			   timer = <200>;
			*/
		};

		s2mu106-channel3 {
			id = <2>;
			/*
			   current = <100>;
			   timer = <200>;
			*/
		};
	};

	s2mu106-charger {
		status = "okay";
		battery,charger_name = "s2mu106-charger";
		battery,chg_gpio_en = <0>;
		battery,chg_polarity_en = <0>;
		battery,chg_gpio_status = <0>;
		battery,chg_polarity_status = <0>;
		battery,chg_float_voltage = <4350>;
		battery,chg_recharge_vcell = <4250>;
		battery,chg_full_vcell = <4300>;
		battery,full_check_type = <2>;
		battery,full_check_type_2nd = <2>;
		battery,input_current_limit = <
			500 450 500 1200 500 1200 1200 1000 1000 1000
			1000 500 500 1200 1000 500 450>;
		battery,fast_charging_current =	<
			500 450 500 1200 500 1200 1200 1000 1000 1000
			1000 500 500 1200 1000 500 450>;
		battery,full_check_current_1st = <
			300 0 300 300 300 300 300 300 300 300
			300 300 300 300 300 300 0>;
		battery,full_check_current_2nd = <
			100 0 100 100 100 100 100 100 100 100
			100 100 100 100 100 100 0>;
	};
};

&exynos_adc {
	status = "okay";
	cpu_thermistor {
		compatible = "murata,ncp03wf104";
		status = "okay";
		pullup-uv = <1800000>;
		pullup-ohm = <100000>;
		pulldown-ohm = <0>;
		io-channels = <&exynos_adc 0>;
		io-channel-names = "cpu_therm";
	};
	battery_thermistor {
		compatible = "murata,ncp15xh103";
		status = "okay";
		pullup-uv = <1800000>;
		pullup-ohm = <100000>;
		pulldown-ohm = <0>;
		io-channels = <&exynos_adc 1>;
		io-channel-names = "bat_therm";
	};
	pa_thermistor {
		compatible = "murata,ncp15xh103";
		status = "okay";
		pullup-uv = <1800000>;
		pullup-ohm = <0>;
		pulldown-ohm = <10000>;
		io-channels = <&exynos_adc 4>;
		io-channel-names = "pa_therm";
		connected-positive;
	};
	board_thermistor {
		compatible = "murata,ncp03wf104";
		status = "okay";
		pullup-uv = <1800000>;
		pullup-ohm = <100000>;
		pulldown-ohm = <0>;
		io-channels = <&exynos_adc 7>;
		io-channel-names = "board_therm";
	};
	usb_con_thermistor {
		compatible = "murata,ncp03wf104";
		status = "okay";
		pullup-uv = <1800000>;
		pullup-ohm = <100000>;
		pulldown-ohm = <0>;
		io-channels = <&exynos_adc 8>;
		io-channel-names = "usb_con_therm";
	};
};

&i2c_2 {
	#address-cells = <1>;
	#size-cells = <0>;
	status = "okay";

	samsung,i2c-max-bus-freq = <600000>;

	sec-nfc@27 {
		compatible = "sec-nfc";
		reg = <0x27>;

		sec-nfc,ven-gpio = <&gpg0 0 0>;
		sec-nfc,firm-gpio = <&gpg0 2 0>;

		sec-nfc,irq-gpio = <&gpa1 2 0>;
		sec-nfc,clk_req-gpio = <&gpg0 1 0>;
		sec-nfc,ldo_en = <&gpm22 0 0>;

		clock-names = "OSC_NFC";
		clocks = <&clock OSC_NFC>;
		pinctrl-names = "default";
		pinctrl-0 = <&xclkout1 &nfc_pd>;
	};
};

&sec_pwm {
	status = "okay";
	pinctrl-names = "default";
	pinctrl-0 = <&motor_pwm>;
};


&fmp_0 {
	exynos,block-type = "sda";
	exynos,fips-block_offset = <5>;
};

&contexthub_0 {
	/* chub irq pin lists */
	chub-irq-pin = <162>;
	clocks =
		/* SHUB */
		<&clock UMUX_CLKCMU_SHUB_BUS>,
	        /* MAG. SENSOR : AK09918C */
		<&clock CMGP01_USI>,
		/* PROX. SENSOR : TMD3702 */
		<&clock CMGP03_USI>,
		/* ALS SENSOR : BH1726 */
		<&clock CMGP_I2C>;
	clock-names =
		"chub_bus",
		"cmgp_usi01",
		"cmgp_usi03",
		"cmgp_i2c";
	os-type = "os.checked_0.bin";
};

&pinctrl_0 {
	pmic_irq: pmic-irq {
		samsung,pins = "gpa2-0";
		samsung,pin-pud = <3>;
		samsung,pin-drv = <3>;
	};

	sub_pmic_irq: sub-pmic-irq {
		samsung,pins = "gpa1-3";
		samsung,pin-function = <0>;
		samsung,pin-pud = <0>;
		samsung,pin-drv = <0>;
	};


	key_voldown: key-voldown {
		samsung,pins = "gpa1-6";
		samsung,pin-function = <0xf>;
		samsung,pin-pud = <0>;
		samsung,pin-drv = <0>;
	};

	key_volup: key-volup {
		samsung,pins = "gpa1-5";
		samsung,pin-function = <0xf>;
		samsung,pin-pud = <0>;
		samsung,pin-drv = <0>;
	};

	key_power: key-power {
		samsung,pins = "gpa1-7";
		samsung,pin-function = <0xf>;
		samsung,pin-pud = <0>;
		samsung,pin-drv = <0>;
	};

	dwmmc2_cd_ext_irq: dwmmc2_cd_ext_irq {
		samsung,pins = "gpa0-7";
		samsung,pin-function = <0xf>;
		samsung,pin-pud = <0>;
		samsung,pin-drv = <3>;
	};

	attn_irq: attn-irq {
		samsung,pins = "gpa2-4";
		samsung,pin-function = <0xf>;
		samsung,pin-pud = <0>;
		samsung,pin-drv = <0>;
	};

	attn_input: attn-input {
		samsung,pins = "gpa2-4";
		samsung,pin-function = <0>;
		samsung,pin-pud = <1>;
	};

	if_pmic_irq: if-pmic-irq {
		samsung,pins = "gpa2-1";
		samsung,pin-function = <0>;
		samsung,pin-pud = <0>;
		samsung,pin-drv = <0>;
	};

	fuel_irq: fuel-irq {
		samsung,pins = "gpa2-3";
		samsung,pin-function = <0>;
		samsung,pin-pud = <0>;
		samsung,pin-drv = <0>;
	};

	usbpd_irq: usbpd-irq {
		samsung,pins = "gpa2-2";
		samsung,pin-function = <0xf>;
		samsung,pin-pud = <3>;
		samsung,pin-drv = <3>;
	};
/* TODO: Need to check pin number
	small_charger_irq: small-charger-irq {
		samsung,pins = "gpa2-5";
		samsung,pin-function = <0>;
		samsung,pin-pud = <0>;
		samsung,pin-drv = <0>;
	};
*/
	cap_int_status: cap_int_status {
		samsung,pins = "gpa2-6";
		samsung,pin-function = <0>;
		samsung,pin-val = <1>;
		samsung,pin-pud = <1>;
	};

	lra_int_status: lra_int_status {
		samsung,pins = "gpa2-7";
		samsung,pin-function = <0>;
		samsung,pin-val = <1>;
		samsung,pin-pud = <3>;
	};

	sleep_alive: sleep-state {
		PIN_EINT_PUD(gpa0-2, DIS);    /* SPK_PA_INT */
		PIN_IN_PUD(gpa0-3, DIS);    /* SC_INTB */
		PIN_IN_PUD(gpa0-4, DIS);    /* IF_PMIC_MRSTB */
		PIN_EINT_PUD(gpa0-6, DIS);    /* CODEC_IRQ_N */
		PIN_EINT_PUD(gpa0-7, DIS);    /* SD_SIM_DET */

		//PIN_IN_PUD(gpa1-1, DOWN);    /* FP_RST_NT */
		PIN_EINT_PUD(gpa1-2, DIS);    /* NFC_IRQ */
		//PIN_IN_PUD(gpa1-3, DOWN);    /* TP_RST_N */
		PIN_IN_PUD(gpa1-5, DIS);    /* KEY_VOL_UP */
		PIN_IN_PUD(gpa1-6, DIS);    /* KEY_VOL_DOWN */
		//PIN_INT_PUD(gpa1-7, DIS);    /* PMIC_ONOB */

		//PIN_EINT_PUD(gpa2-0, DIS);    /* PMIC_IRQB */
		//PIN_EINT_PUD(gpa2-1, DIS);    /* IF_PMIC_IRQB */
		PIN_EINT_PUD(gpa2-2, DIS);    /* IF_PMIC_INTB */
		//PIN_EINT_PUD(gpa2-3, DIS);    /* FG_INTB */
		PIN_EINT_PUD(gpa2-4, DIS);    /* TP_INT_B */
		//PIN_IN_PUD(gpa2-5, DOWN);    /* MOTOR_RSTN */
		PIN_EINT_PUD(gpa2-6, DIS);    /* SAR_PS_INT */
		PIN_EINT_PUD(gpa2-7, DIS);    /* MOTOR_INTN */

		PIN_FUNC_PUD(gpq0-2, UP);    /* SPEEDY_PMIC */
		PIN_IN_PUD(gpq0-3, DOWN);    /* AP_UART0_RXD */
		PIN_IN_PUD(gpq0-4, UP);    /* AP_UART0_TXD */
	};

	normal_alive: normal-state {
		PIN_EINT_PUD(gpa0-2, DIS);    /* SPK_PA_INT */
		PIN_IN_PUD(gpa0-3, DIS);     /* SC_INTB */
		PIN_IN_PUD(gpa0-4, DIS);     /* IF_PMIC_MRSTB */
		PIN_EINT_PUD(gpa0-6, DIS);    /* CODEC_IRQ_N */
		PIN_EINT_PUD(gpa0-7, DIS);    /* SD_SIM_DET */

		PIN_EINT_PUD(gpa1-2, DIS);    /* NFC_IRQ */
		PIN_EINT_PUD(gpa1-5, DIS);    /* KEY_VOL_UP */
		PIN_EINT_PUD(gpa1-6, DIS);    /* KEY_VOL_DOWN */

		PIN_EINT_PUD(gpa2-2, DIS);    /* IF_PMIC_INTB */
		PIN_EINT_PUD(gpa2-4, DIS);    /* TP_INT_B */
		PIN_EINT_PUD(gpa2-6, DIS);    /* SAR_PS_INT */
		PIN_EINT_PUD(gpa2-7, DIS);    /* MOTOR_INTN */

		PIN_FUNC_PUD(gpq0-2, UP);    /* SPEEDY_PMIC */
		PIN_FUNC_PUD(gpq0-3, DOWN);    /* AP_UART0_RXD */
		PIN_FUNC_PUD(gpq0-4, UP);    /* AP_UART0_TXD */
	};
};

&pinctrl_1 {
	sleep_cmgp: sleep-state {
		PIN_IN_PUD(gpm2-0, DIS);    /* LCD_SCL */
		PIN_IN_PUD(gpm3-0, DIS);    /* LCD_SCA */
		PIN_IN_PUD(gpm4-0, DIS);    /* SENSOR_SCL_1.8V */
		PIN_IN_PUD(gpm5-0, DIS);    /* SENSOR_SDA_1.8V */
		PIN_IN_PUD(gpm6-0, DIS);    /* LT_SENSOR_SCL_1.8V */
		PIN_IN_PUD(gpm7-0, DIS);    /* LT_SENSOR_SDA_1.8V */
		PIN_IN_PUD(gpm8-0, DIS);    /* MOTOR_I2C_SCL */
		PIN_IN_PUD(gpm9-0, DIS);    /* AP_UART0_TXD */
		PIN_IN_PUD(gpm10-0, DIS);    /* SAR_SENSOR_SCL */
		PIN_IN_PUD(gpm11-0, DIS);    /* SAR_SENSOR_SDA */
		PIN_IN_PUD(gpm16-0, DOWN);    /* NC */
		PIN_IN_PUD(gpm17-0, DOWN);    /* NC */
		PIN_EINT_PUD(gpm20-0, DIS);    /* PSENSOR_INT */
		//PIN_IN_PUD(gpm22-0, DOWN);      /* NFC_PVDDEN */
		PIN_IN_PUD(gpm25-0, DIS);       /* SPK_ID */
	};

	normal_cmgp: normal-cmgp {
		//PIN_EINT_PUD(gpm20-0, UP);    /* PSENSOR_INT */
		PIN_FUNC_PUD(gpm2-0, DIS);    /* LCD_SCL */
		PIN_FUNC_PUD(gpm3-0, DIS);    /* LCD_SCA */
		PIN_FUNC_PUD(gpm4-0, UP);    /* SENSOR_SCL_1.8V */
		PIN_FUNC_PUD(gpm5-0, UP);    /* SENSOR_SDA_1.8V */
		PIN_FUNC_PUD(gpm6-0, UP);    /* LT_SENSOR_SCL_1.8V */
		PIN_FUNC_PUD(gpm7-0, UP);    /* LT_SENSOR_SDA_1.8V */
		PIN_FUNC_PUD(gpm8-0, DIS);    /* MOTOR_I2C_SCL */
		PIN_FUNC_PUD(gpm9-0, DIS);    /* MOTOR_I2C_SDA */
		PIN_FUNC_PUD(gpm10-0, DIS);    /* SAR_SENSOR_SCL */
		PIN_FUNC_PUD(gpm11-0, DIS);    /* SAR_SENSOR_SDA */
		PIN_EINT_PUD(gpm20-0, DIS);    /* PSENSOR_INT */
		PIN_IN_PUD(gpm25-0, DIS);       /* SPK_ID */
	};
};

&pinctrl_2 {
	sleep_aud: sleep-state {
		PIN_SLP(gpb0-0, IN, DOWN);    /* NC */
		PIN_SLP(gpb0-1, IN, DOWN);    /* I2S0_CODEC_BCLK */
		PIN_SLP(gpb0-2, IN, DOWN);    /* I2S0_CODEC_WS */
		PIN_SLP(gpb0-3, IN, DOWN);    /* I2S0_CODEC_SDO */
		PIN_SLP(gpb0-4, IN, DOWN);    /* I2S0_CODEC_SDI */

		PIN_SLP(gpb1-0, IN, DOWN);    /* NC */
		PIN_SLP(gpb1-1, IN, DOWN);    /* NC */
		PIN_SLP(gpb1-2, IN, DOWN);    /* NC */
		PIN_SLP(gpb1-3, IN, DOWN);    /* NC */

		PIN_SLP(gpb2-0, IN, DOWN);    /* I2S2_CODEC_BCLK */
		PIN_SLP(gpb2-1, IN, DOWN);    /* I2S2_CODEC_WS */
		PIN_SLP(gpb2-2, IN, DOWN);    /* I2S2_CODEC_SDO */
		PIN_SLP(gpb2-3, IN, DOWN);    /* I2S2_CODEC_SDI */
		PIN_SLP(gpb2-4, IN, DOWN);    /* FM_SPDY_S620 */
	};
};

&pinctrl_3 {
	sleep_fsys: sleep-fsys {
		PIN_SLP(gpf0-0, PREV, DIS);    /* UFS_EMBD_REFCLK_OUT */
		PIN_SLP(gpf0-1, PREV, DIS);    /* UFS_EMBD_RESETN */
	};
};

&pinctrl_4 {
	/* Warm reset information from AP */
	pm_wrsti: pm-wrsti {
		samsung,pins = "gpg0-7";
		samsung,pin-con-pdn = <3>;
	};

	motor_pwm: motor_pwm {
		samsung,pins = "gpg4-2";
		samsung,pin-function = <2>;
		samsung,pin-pud = <1>;
		samsung,pin-drv = <0>;
	};

	vdd_on: vdd-on {
		samsung,pins ="gpg3-4";
		samsung,pin-function = <1>;
		samsung,pin-val = <1>;
		samsung,pin-pud = <3>;
	};

	vdd_off: vdd-off {
		samsung,pins ="gpg3-4";
		samsung,pin-function = <0>;
		samsung,pin-val = <0>;
		samsung,pin-pud = <1>;
	};

	lcd_reset: lcd_reset {
		samsung,pins = "gpg1-4";
		samsung,pin-function = <1>;
		samsung,pin-pud = <3>;
		samsung,pin-val = <1>;
		samsung,pin-con-pdn =<3>;
		samsung,pin-pud-pdn = <3>;
	};

	codec_reset: codec-reset {
		samsung,pins ="gpg3-2";
		samsung,pin-pud = <0>;
		samsung,pin-con-pdn =<3>;
		samsung,pin-pud-pdn = <0>;
	};

	codec_en: codec_en {
		samsung,pins = "gpg1-1";
		samsung,pin-function = <1>;
		samsung,pin-pud = <3>;
		samsung,pin-val = <1>;
		samsung,pin-con-pdn =<3>;
		samsung,pin-pud-pdn = <3>;
	};

	pa_reset: pa-reset {
		samsung,pins ="gpg3-3";
		samsung,pin-con-pdn =<3>;
		samsung,pin-pud-pdn = <3>;
	};

	nfc_pd: nfc-pd {
		samsung,pins ="gpg0-0";
		samsung,pin-con-pdn =<3>;
		samsung,pin-pud-pdn = <0>;
	};

	sleep_top: sleep-top {
		PIN_SLP(gpp0-0, IN, DIS);       /* I2C0_FG_PMIC_SDA */
		PIN_SLP(gpp0-1, IN, DIS);       /* I2C0_FG_PMIC_SCL */
		PIN_SLP(gpp0-2, IN, DIS);       /* I2C1_IF_PMIC_SDA */
		PIN_SLP(gpp0-3, IN, DIS);       /* I2C1_IF_PMIC_SCL */

		/* Add 18.12.31 start */
		PIN_SLP(gpp0-4, IN, DIS);       /* I2C2_NFC_SDA */
		PIN_SLP(gpp0-5, IN, DIS);       /* I2C2_NFC_SCL */
		PIN_SLP(gpp0-6, IN, DOWN);      /* N.C. */
		PIN_SLP(gpp0-7, IN, DOWN);      /* N.C. */

		PIN_SLP(gpp1-0, IN, DIS);       /* I2C4_TSP_SDA */
		PIN_SLP(gpp1-1, IN, DIS);       /* I2C4_TSP_SCL */
		PIN_SLP(gpp1-2, IN, DOWN);      /* N.C. */
		PIN_SLP(gpp1-3, IN, DOWN);      /* N.C. */
		PIN_SLP(gpp1-4, IN, DOWN);      /* N.C. */
		PIN_SLP(gpp1-5, IN, DOWN);      /* N.C. */

		PIN_SLP(gpc0-0, IN, DIS);       /* I2C_CAM0_REAR_MAIN_SDA */
		PIN_SLP(gpc0-1, IN, DIS);       /* I2C_CAM0_REAR_MAIN_SCL */
		PIN_SLP(gpc0-2, IN, DIS);       /* I2C_CAM1_REAR_SUB_SDA */
		PIN_SLP(gpc0-3, IN, DIS);       /* I2C_CAM1_REAR_SUB_SCL */
		PIN_SLP(gpc0-4, IN, DIS);       /* I2C_CAM2_FRONT_SDA */
		PIN_SLP(gpc0-5, IN, DIS);       /* I2C_CAM2_FRONT_SCL */
		PIN_SLP(gpc0-6, IN, DOWN);      /* N.C. */
		PIN_SLP(gpc0-7, IN, DOWN);      /* N.C. */
		/* Add 18.12.31 end */

		/* ADD 19.01.01 start */
		PIN_SLP(gpc1-2, IN, DOWN);      /* N.C. */

		PIN_SLP(gpc2-3, PREV, DIS);     /* DISP_TES added 19.01.05 */
		PIN_SLP(gpc2-4, IN, DOWN);      /* N.C. */

		PIN_SLP(gpg0-0, PREV, DIS);    /* NFC_PD */

		//PIN_SLP(gpg0-1, PREV, DIS);    /* NFC_CLKREQ */
		//PIN_SLP(gpg0-2, PREV, DIS);    /* NFC_WAKE */
		/* ADD 19.01.01 end t*/

		PIN_SLP(gpg0-7, PREV, DIS);    	/* PMIC_WRSTBI */

		//PIN_SLP(gpg1-1, PREV, DIS);    	/* VDD_CODEC_EN */
		PIN_SLP(gpg1-4, PREV, DIS);    	/* LCD_RESET_N */

		//PIN_SLP(gpg2-0, PREV, DIS);    /* FP_LDO_EN_3V3 */
		//PIN_SLP(gpg2-1, PREV, DIS);    /* LDO_BL_EN */
		//PIN_SLP(gpg2-2, PREV, DIS);    /* FP_LDOEN_1V8 */
		//PIN_SLP(gpg2-3, PREV, DIS);    /* FCAM_AVDD_EN */
		//PIN_SLP(gpg2-4, PREV, DIS);    /* FCAM_DVDD_EN */
		//PIN_SLP(gpg2-5, PREV, DIS);    /* CAM_OVDD_EN */
		//PIN_SLP(gpg2-6, PREV, DIS);    /* RCAM_MAIN_AVDD_EN */
		//PIN_SLP(gpg2-7, PREV, DIS);    /* RCAM_DVDD_EN */

		//PIN_SLP(gpg3-0, PREV, DIS);    /* LCD_BIAS_ENN */
		//PIN_SLP(gpg3-1, PREV, DIS);    /* LCD_BIAS_ENP */
		//PIN_SLP(gpg3-3, PREV, DIS);    /* AUDIO_PA_RST */
		//PIN_SLP(gpg3-4, PREV, DIS);    /* LCD_LDO_1V8_En */

		//PIN_SLP(gpg4-0, PREV, DIS);    /* XBOOTLDO */
	};
};

&pinctrl_5 {
	sleep_shub: sleep-shub {
		PIN_SLP(gph0-0, IN, DOWN);    /* ACC_SPI_CLK */
		PIN_SLP(gph0-1, IN, DOWN);    /* ACC_SPI_MOSI */
		PIN_SLP(gph0-2, IN, DOWN);    /* ACC_SPI_MISO */
		PIN_SLP(gph0-3, IN, DOWN);    /* ACC_SPI_CS_N */
		PIN_SLP(gph1-0, IN, DOWN);    /* ACCEL_GRY0_INT1 */
		PIN_SLP(gph1-1, IN, DOWN);    /* ACCEL_GRY0_INT2 */
		PIN_SLP(gph1-2, IN, DOWN);    /* LIGHT_INT */
	};
};

&udc {
	status = "okay";
};

&usbdrd_dwc3 {
	dr_mode = "otg";
	maximum-speed = "high-speed";
};

&usbdrd_phy {
	status = "okay";
	usb3phy-isolation = <1>;

	hs_tune_param = <&usb_hs_tune>;
};

&usbdrd3_phy {
	status = "okay";
	usb3phy-isolation = <1>;

	hs_tune_param = <&usb3_hs_tune>;
	ss_tune_param = <&usb3_ss_tune>;
};

&serial_0 {
	status = "okay";
};

&dsim_0 {
	lcd_info = <&nt36672a>;
	/* reset, lcd_bias_enp, lcd_bias_enn, lcd_bl_en*/
	gpios = <&gpg1 4 0x1>, <&gpg3 1 0x1>, <&gpg3 0 0x1>, <&gpg2 1 0x1>;
	pinctrl-names = "lcd_reset";
	pinctrl-0 = <&lcd_reset>;
};

/* USI_0_SHUB */
&usi_0_shub {
	usi_v2_mode = "spi";
	status = "disabled";
};

/* USI_SHUB_0_I2C */
&usi_0_shub_i2c {
	/*	usi_v2_mode = "i2c" or "spi" or "uart"	*/
	status = "disabled";
};

/* USI_0_CMGP */
&usi_0_cmgp {
	/*	usi_v2_mode = "i2c" or "spi" or "uart"	*/
	usi_v2_mode = "i2c";
	status = "okay";
};

/* USI_0_CMGP_I2C */
&usi_0_cmgp_i2c {
	usi_v2_mode = "i2c";
	status = "okay";
};

/* USI_1_CMGP */
&usi_1_cmgp {
	usi_v2_mode = "i2c";
	status = "okay";
};

/* USI_1_CMGP_I2C */
&usi_1_cmgp_i2c {
	usi_v2_mode = "i2c";
	status = "okay";
};

/* USI_2_CMGP */
&usi_2_cmgp {
	/*	usi_v2_mode = "i2c" or "spi" or "uart"	*/
	usi_v2_mode = "i2c";
	status = "okay";
};

/* USI_2_CMGP_I2C */
&usi_2_cmgp_i2c {
	usi_v2_mode = "i2c";
	status = "okay";
};

/* USI_3_CMGP */
&usi_3_cmgp {
	/*	usi_v2_mode = "i2c" or "spi" or "uart"	*/
	status = "disabled";
};

/* USI_3_CMGP_I2C */
&usi_3_cmgp_i2c {
	/*	usi_v2_mode = "i2c" or "spi" or "uart"	*/
	status = "disabled";
};

/* USI_4_CMGP */
&usi_4_cmgp {
	/*	usi_v2_mode = "i2c" or "spi" or "uart"	*/
	status = "disabled";
};

/* USI_4_CMGP_I2C */
&usi_4_cmgp_i2c {
	/*	usi_v2_mode = "i2c" or "spi" or "uart"	*/
	status = "disabled";
};

/* USI_PERI_UART */
&usi_peri_uart {
	usi_v2_mode = "uart";
	status = "okay";
};

/* USI_PERI_CAMI2C_0 */
&usi_peri_cami2c_0 {
	usi_v2_mode = "i2c";
	status = "okay";
};

/* USI_PERI_CAMI2C_1 */
&usi_peri_cami2c_1 {
	usi_v2_mode = "i2c";
	status = "okay";
};

/* USI_PERI_CAMI2C_2 */
&usi_peri_cami2c_2 {
	usi_v2_mode = "i2c";
	status = "okay";
};

/* USI_PERI_CAMI2C_3 */
&usi_peri_cami2c_3 {
	usi_v2_mode = "i2c";
	status = "okay";
};

/* USI_PERI_SPI_0 */
&usi_peri_spi_0 {
	usi_v2_mode = "spi";
	status = "okay";
};

/* USI_PERI_SPI_1 */
&usi_peri_spi_1 {
	usi_v2_mode = "spi";
	status = "okay";
};

/* USI_PERI_USI_0 */
&usi_peri_usi_0 {
	/*	usi_v2_mode = "i2c" or "spi" or "uart"	*/
	status = "disabled";
};

/* USI_PERI_USI_0_I2C */
&usi_peri_usi_0_i2c {
	/*	usi_v2_mode = "i2c" or "spi" or "uart"	*/
	status = "disabled";
};

/* USI_PERI_SPI_2 */
&usi_peri_spi_2 {
	usi_v2_mode = "spi";
	status = "okay";
};

&spi_6 {
	status = "okay";
	pinctrl-names = "default";
	pinctrl-0 = <&spi6_bus &spi6_cs_func &pa_reset>;
	/*cs-gpios = <&gpp2 3 0>;*/
	/*gpp2[3]*/
	/*num-cs = <1>;*/
	#address-cells = <1>;
	#size-cells = <0>;
	cs35l41_left: cs35l41@0 {
		compatible = "cirrus,cs35l41";
		reg = <0x0>;

		spi-max-frequency = <9600000>;

		interrupts = <2 0 0>;
		interrupt-controller;
		interrupt-parent = <&gpa0>;
		reset-gpios = <&gpg3 3 0>;
		#sound-dai-cells = <1>;

		VA-supply = <&l42_reg>;
		VP-supply = <&V_SYS>;

		cirrus,boost-peak-milliamp = <4500>;
		cirrus,boost-ind-nanohenry = <1000>;
		cirrus,boost-cap-microfarad = <15>;
		cirrus,asp-sdout-hiz = <0x1>;
		cirrus,gpio-config2 {
			cirrus,gpio-src-select = <0x4>;
			cirrus,gpio-output-enable;
		};

		adsps {
			#address-cells = <1>;
			#size-cells = <0>;
			prince_l_dsp: adsp@2b80000 {
				reg = <0x2b80000>;
				firmware {
				    protectionsp_default {
						cirrus,full-name;
						cirrus,wmfw-file = "cs35l41-dsp1-prot.wmfw";
						cirrus,bin-file = "cs35l41-dsp1-spk-prot-music-aac.bin";
					};
					protectionsp_music_aac {
						cirrus,full-name;
						cirrus,wmfw-file = "cs35l41-dsp1-prot.wmfw";
						cirrus,bin-file = "cs35l41-dsp1-spk-prot-music-aac.bin";
					};
					protectionsp_indmusic_aac {
                                                cirrus,full-name;
                                                cirrus,wmfw-file = "cs35l41-dsp1-prot.wmfw";
                                                cirrus,bin-file = "cs35l41-dsp1-spk-prot-indmusic-aac.bin";
                                        };
					protectionsp_voice_aac {
						cirrus,full-name;
						cirrus,wmfw-file = "cs35l41-dsp1-prot.wmfw";
						cirrus,bin-file = "cs35l41-dsp1-spk-prot-voice-aac.bin";
					};
					protectionsp_ringtone_aac {
						cirrus,full-name;
						cirrus,wmfw-file = "cs35l41-dsp1-prot.wmfw";
						cirrus,bin-file = "cs35l41-dsp1-spk-prot-ringtone-aac.bin";
					};
					protectionsp_notification_aac {
						cirrus,full-name;
						cirrus,wmfw-file = "cs35l41-dsp1-prot.wmfw";
						cirrus,bin-file = "cs35l41-dsp1-spk-prot-notification-aac.bin";
					};
					protectionsp_music_qisheng {
						cirrus,full-name;
						cirrus,wmfw-file = "cs35l41-dsp1-prot.wmfw";
						cirrus,bin-file = "cs35l41-dsp1-spk-prot-music-qisheng.bin";
					};
					protectionsp_indmusic_qisheng {
                                                cirrus,full-name;
                                                cirrus,wmfw-file = "cs35l41-dsp1-prot.wmfw";
                                                cirrus,bin-file = "cs35l41-dsp1-spk-prot-indmusic-qisheng.bin";
					};
					protectionsp_voice_qisheng {
						cirrus,full-name;
						cirrus,wmfw-file = "cs35l41-dsp1-prot.wmfw";
						cirrus,bin-file = "cs35l41-dsp1-spk-prot-voice-qisheng.bin";
					};
					protectionsp_ringtone_qisheng{
						cirrus,full-name;
						cirrus,wmfw-file = "cs35l41-dsp1-prot.wmfw";
						cirrus,bin-file = "cs35l41-dsp1-spk-prot-ringtone-qisheng.bin";
					};
					protectionsp_notification_qisheng {
						cirrus,full-name;
						cirrus,wmfw-file = "cs35l41-dsp1-prot.wmfw";
						cirrus,bin-file = "cs35l41-dsp1-spk-prot-notification-qisheng.bin";
					};
					calibration_aac {
						cirrus,full-name;
						cirrus,wmfw-file = "cs35l41-dsp1-diag.wmfw";
						cirrus,bin-file = "cs35l41-dsp1-aac-cali.bin";
					};
					calibration_qisheng{
						cirrus,full-name;
						cirrus,wmfw-file = "cs35l41-dsp1-diag.wmfw";
						cirrus,bin-file = "cs35l41-dsp1-qissheng-cali.bin";
					};
				};
			};
		};
		controller-data {
			/*cs-gpio = <gpm8 0 0>*/
			/*cs-gpios = <&gpp2 3 0>;*/
			samsung,spi-feedback-delay = <1>;
			samsung,spi-chip-select-mode = <0>;
		};
	};
};

&spi_9 {
	pinctrl-names = "default";
	pinctrl-0 = <&spi9_bus &spi9_cs_func  &codec_en>;
	status = "okay";
	#address-cells = <1>;
	#size-cells = <0>;
	cs47l35: cs47l35@0 {
		compatible = "cirrus,cs47l35";
		reg = <0x0>;

		spi-max-frequency = <11000000>;

		interrupts = <6 8 0>;
		interrupt-controller;
		#interrupt-cells = <2>;
		interrupt-parent = <&gpa0>;
		gpio-controller;
		#gpio-cells = <2>;
		#sound-dai-cells = <1>;

		AVDD-supply = <&l42_reg>;
		DBVDD1-supply = <&l42_reg>;
		DBVDD2-supply = <&l42_reg>;
		CPVDD1-supply = <&l42_reg>;
		/*Not used LDO44*/
		/*CPVDD2-supply = <&l44_reg>;*/
		/*DCVDD-supply = <&l44_reg>;*/
		SPKVDD-supply = <&V_SYS>;

		reset-gpios = <&gpg3 2 0>;

		cirrus,dmic-ref = <0 0 0>;
		cirrus,inmode = <
			0 0 0 0 /* IN1 */
			0 0 0 0 /* IN2 */
		>;

	     cirrus,gpsw = <1 0>;

		pinctrl-names = "probe", "active";
		pinctrl-0 = <&codec_reset>;
		pinctrl-1 = <&codec_reset &cs47l35_defaults>;

		madera_pinctrl: madera-pinctrl {
			compatible = "cirrus,madera-pinctrl";
			cs47l35_defaults: cs47l35-gpio-defaults {
				aif1 {
					groups = "aif1";
					function = "aif1";
					bias-bus-hold;
				};

				aif2 {
					groups = "aif2";
					function = "aif2";
					bias-bus-hold;
				};

				aif3 {
					groups = "aif3";
					function = "aif3";
					bias-bus-hold;
				};

				gpio6 { /* Amp Clock */
					groups = "gpio6";
					function = "opclk";
					bias-pull-up;
					output-low;
				};

				gpio5 { /* Mic Polarity Flip */
					groups = "gpio5";
					function = "io";
				};
			};
		};


		micvdd {
			regulator-min-microvolt = <3000000>;
			regulator-max-microvolt = <3000000>;
		};

		MICBIAS1 {
			regulator-min-microvolt = <2800000>;
			regulator-max-microvolt = <2800000>;
			cirrus,ext-cap = <1>;
		};
		MICBIAS1A {
			regulator-active-discharge = <1>;
		};
		MICBIAS1B {
			regulator-active-discharge = <1>;
		};

		MICBIAS2 {
			regulator-min-microvolt = <2800000>;
			regulator-max-microvolt = <2800000>;
			cirrus,ext-cap = <1>;
		};

		MICBIAS2A {
			regulator-active-discharge = <1>;
		};
		MICBIAS2B {
			regulator-active-discharge = <1>;
		};

		cirrus,accdet {
			#address-cells = <1>;
			#size-cells = <0>;

			acc@1 {
				reg = <1>;

				cirrus,micd-configs = <
					0 0 2 0 0
				>;
				cirrus,micd-bias-start-time = <8>;
				cirrus,micd-rate = <6>;
				/*cirrus,micd-pol-gpios = <&cs47l35 4 0>;*/
				cirrus,micd-detect-debounce-ms = <700>;
				/*cirrus,jd-use-jd2;*/
				/*cirrus,micd-clamp-mode = <0x8>;*/
			};
		};

		adsps {
			#address-cells = <1>;
			#size-cells = <0>;
			adsp@17fe00 {
				reg = <0x17fe00>;
				firmware {
					frontend {
						cirrus,wmfw-file = "marley-dsp2-aov-frontend.wmfw";
						cirrus,bin-file = "marley-dsp2-aov-vrgain.bin";
						cirrus,full-name;
						cirrus,compr-caps = <14 1 4 1 16000>;
					};
				};
			};
			adsp@1ffe00 {
				reg = <0x1ffe00>;
				firmware {
					aov {
						cirrus,wmfw-file = "marley-dsp3-aov-control.wmfw";
						cirrus,bin-file = "None";
						cirrus,full-name;
						cirrus,compr-caps = <14 1 4 1 16000>;
					};
				};
			};
		};

		controller-data {
			samsung,spi-feedback-delay = <1>;
			samsung,spi-chip-select-mode = <0>;
		};
	};
};
